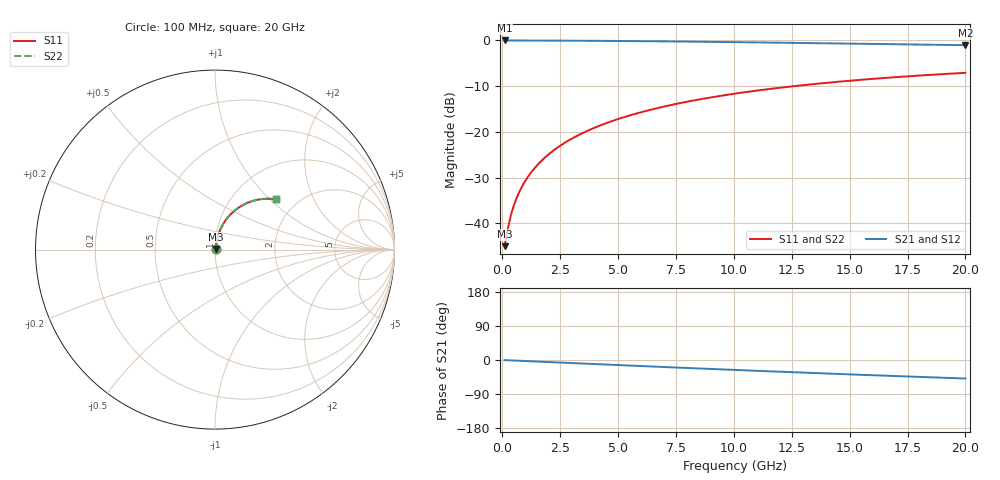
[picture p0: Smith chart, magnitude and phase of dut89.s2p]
! Touchstone file exported from HFSS 2026.1.0
!  File:  C:/ffzhzh/LocalFiles/Ansys_Project_Files/temp_train_TMRDL_89_1782881493_13352.aedt
!  Generated:  12:52:45 PM Jul  1, 2026
!  Design:  TMRDL
!  Project:  temp_train_TMRDL_89_1782881493_13352
! Variables:
!  h_bsmrdl = 2um
!  h_ox = 20um
!  h_rdl = 5um
!  h_sub = 80um
!  h_tmrdl = 3.14um
!  h_tsv = 80um
!  h_via = 3um
!  l_bsmrdl = 300um
!  l_sub = 1132.73um
!  l_tmrdl = 732.73um
!  m_sub = 200um
!  pitch = 42.11um
!  r_tsv = 6um
!  s_tmrdl = 10um
!  w_bsmrdl = 18um
!  w_sub = 500um
!  w_tmrdl = 17.99um
!  x_tsv_center1 = 741.725um
!  x_tsv_center2 = 1059.725um
!  x_tsv_center3 = 1810.445um
!  x_tsv_center4 = 2128.445um
!  x_tsv_center5 = 2879.165um
!  x_tsv_center6 = 3197.165um
# GHz S MA R 50.000000
! Terminal data exported
! Port[1] = TM_RDL1_1_T1
! Port[2] = TM_RDL1_1_T2
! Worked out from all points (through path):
!   200 points, 100 MHz to 20 GHz, reference 50 ohm
!   highest |S21| = -0.04 dB at 100 MHz (marker M1); lowest = -1.1 dB at 20 GHz (marker M2)
!   group delay of S21, straight-line fit = 6.8 ps
!   lowest |S11| = -45.0 dB at 100 MHz (marker M3), VSWR 1.01, Z = 50.5 + j0.309 ohm
!   |S11| at or under -10 dB: start of sweep to 12.63 GHz
!   |S22| runs from -45.0 to -7.1 dB; largest |S21 - S12| = 2.6e-15
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0.1  0.005643 32.8  0.9953 -0.3  0.9953 -0.3  0.005643 32.8
! Gamma 0 0 0 0
! Port Impedance 50 0 50 0
0.2  0.007811 50.9  0.9951 -0.6  0.9951 -0.6  0.00781 50.9
0.3  0.01037 60.1  0.9949 -0.8  0.9949 -0.8  0.01037 60.1
0.4  0.01304 65.3  0.9947 -1.1  0.9947 -1.1  0.01304 65.3
0.5  0.01573 68.6  0.9945 -1.4  0.9945 -1.4  0.01573 68.6
0.6  0.01843 70.9  0.9943 -1.7  0.9943 -1.7  0.01843 70.9
0.8  0.02385 73.9  0.994 -2.2  0.994 -2.2  0.02385 73.9
1.1  0.03203 76.3  0.9936 -3.0  0.9936 -3.0  0.03203 76.3
1.3  0.03751 77.2  0.9933 -3.5  0.9933 -3.5  0.03751 77.2
1.6  0.04576 77.9  0.9929 -4.3  0.9929 -4.3  0.04576 77.9
2.1  0.05954 78.2  0.9919 -5.7  0.9919 -5.7  0.05954 78.2
2.7  0.07604 77.7  0.9906 -7.3  0.9906 -7.3  0.07604 77.7
3.5  0.09787 76.5  0.9883 -9.4  0.9883 -9.4  0.09787 76.5
4.2  0.1167 75.1  0.9859 -11.3  0.9859 -11.3  0.1167 75.1
5  0.138 73.3  0.9827 -13.4  0.9827 -13.4  0.138 73.4
5.9  0.1614 71.3  0.9785 -15.8  0.9785 -15.8  0.1614 71.3
6.8  0.1842 69.1  0.974 -18.1  0.974 -18.1  0.1842 69.2
8.3  0.2209 65.5  0.9654 -21.9  0.9654 -21.9  0.2209 65.6
10.1  0.2625 61.2  0.954 -26.4  0.954 -26.4  0.2625 61.3
13.4  0.3314 53.6  0.9311 -34.3  0.9311 -34.3  0.3314 53.6
16.7  0.3909 46.3  0.9071 -41.8  0.9071 -41.8  0.3908 46.4
20  0.4408 39.3  0.8838 -48.9  0.8838 -48.9  0.4408 39.4
